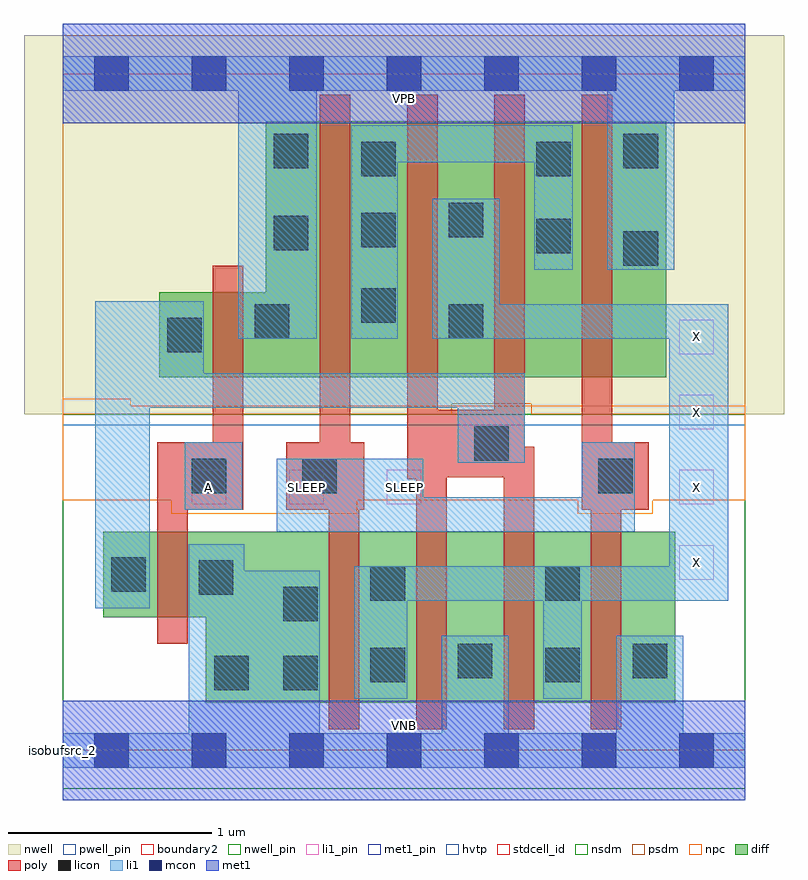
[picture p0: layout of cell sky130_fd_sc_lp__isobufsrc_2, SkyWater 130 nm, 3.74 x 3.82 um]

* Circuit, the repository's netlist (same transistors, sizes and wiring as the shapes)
* Copyright 2020 The SkyWater PDK Authors
*
* Licensed under the Apache License, Version 2.0 (the "License");
* you may not use this file except in compliance with the License.
* You may obtain a copy of the License at
*
*     https://www.apache.org/licenses/LICENSE-2.0
*
* Unless required by applicable law or agreed to in writing, software
* distributed under the License is distributed on an "AS IS" BASIS,
* WITHOUT WARRANTIES OR CONDITIONS OF ANY KIND, either express or implied.
* See the License for the specific language governing permissions and
* limitations under the License.
*
* SPDX-License-Identifier: Apache-2.0

.SUBCKT sky130_fd_sc_lp__isobufsrc_2 A SLEEP VGND VNB VPB VPWR X
*.PININFO A:I SLEEP:I VGND:I VNB:I VPB:I VPWR:I X:O
MMP0 VPWR SLEEP sndPA VPB sky130_fd_pr__pfet_01v8_hvt m=2 w=1.26U l=0.15U mult=1
+ sa=0.265 sb=0.265 sd=0.28 area=0.063 perim=1.14
MMP1 sndPA Ab X VPB sky130_fd_pr__pfet_01v8_hvt m=2 w=1.26U l=0.15U mult=1 sa=0.265
+ sb=0.265 sd=0.28 area=0.063 perim=1.14
MMIP1 Ab A VPWR VPB sky130_fd_pr__pfet_01v8_hvt m=1 w=0.42U l=0.15U mult=1 sa=0.265
+ sb=0.265 sd=0.28 area=0.063 perim=1.14
MMN0 X SLEEP VGND VNB sky130_fd_pr__nfet_01v8 m=2 w=0.84U l=0.15U mult=1 sa=0.265
+ sb=0.265 sd=0.28 area=0.063 perim=1.14
MMN1 X Ab VGND VNB sky130_fd_pr__nfet_01v8 m=2 w=0.84U l=0.15U mult=1 sa=0.265
+ sb=0.265 sd=0.28 area=0.063 perim=1.14
MMIN1 Ab A VGND VNB sky130_fd_pr__nfet_01v8 m=1 w=0.42U l=0.15U mult=1 sa=0.265
+ sb=0.265 sd=0.28 area=0.063 perim=1.14
.ENDS sky130_fd_sc_lp__isobufsrc_2

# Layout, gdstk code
import gdstk
lib = gdstk.Library(unit=1e-6, precision=1e-09)
def R(c, l, rs):  # rectangles x0, y0, x1, y1
    for r in rs: c.add(gdstk.rectangle(r[:2], r[2:], *l))
def A(c, l, x, y, w, h, nx, ny, dx, dy):  # array of equal rectangles
    R(c, l, [(x+i*dx, y+j*dy, x+i*dx+w, y+j*dy+h) for i in range(nx) for j in range(ny)])
def P(c, l, *ps):  # polygons
    for p in ps: c.add(gdstk.Polygon(p, *l))
nwell_pin = (64, 16)
nwell = (64, 20)
diff = (65, 20)
poly = (66, 20)
licon = (66, 44)
li1_pin = (67, 16)
li1 = (67, 20)
mcon = (67, 44)
met1_pin = (68, 16)
met1 = (68, 20)
hvtp = (78, 44)
stdcell_id = (81, 4)
nsdm = (93, 44)
psdm = (94, 20)
npc = (95, 20)
pwell_pin = (122, 16)
boundary2 = (236, 0)

sky130_fd_sc_lp__isobufs = lib.new_cell('sky130_fd_sc_lp__isobufsrc_2')
R(sky130_fd_sc_lp__isobufs, nwell_pin, [(0,3.085,3.36,3.33)])
R(sky130_fd_sc_lp__isobufs, nwell, [(-0.19,1.655,3.55,3.52)])
P(sky130_fd_sc_lp__isobufs, diff, [(2.97,3.095),(1,3.095),(1,2.255),(0.475,2.255),(0.475,1.835),(2.97,1.835)],
  [(3.015,1.075),(0.2,1.075),(0.2,0.655),(0.705,0.655),(0.705,0.235),(3.015,0.235)])
P(sky130_fd_sc_lp__isobufs, poly, [(0.89,2.385),(0.74,2.385),(0.74,1.515),(0.465,1.515),(0.465,0.525),(0.615,0.525),(0.615,1.185),(0.89,1.185)],
  [(1.485,1.515),(1.415,1.515),(1.415,3.225),(1.265,3.225),(1.265,1.515),(1.1,1.515),(1.1,1.185),(1.31,1.185),(1.31,0.105),(1.46,0.105),(1.46,1.185),(1.485,1.185)],
  [(2.32,1.495),(2.275,1.495),(2.275,3.225),(2.125,3.225),(2.125,1.675),(1.845,1.675),(1.845,3.225),(1.695,3.225),(1.695,1.335),(1.74,1.335),(1.74,0.105),(1.89,0.105),(1.89,1.345),(2.17,1.345),(2.17,0.105),(2.32,0.105)],
  [(2.885,1.515),(2.705,1.515),(2.705,3.225),(2.555,3.225),(2.555,1.185),(2.6,1.185),(2.6,0.105),(2.75,0.105),(2.75,1.185),(2.885,1.185)])
R(sky130_fd_sc_lp__isobufs, licon, [(0.745,0.295,0.915,0.465), (1.085,0.295,1.255,0.465), (1.515,0.335,1.685,0.505), (2.375,0.335,2.545,0.505), (1.945,0.355,2.115,0.525), (2.805,0.355,2.975,0.525), (1.085,0.635,1.255,0.805), (1.515,0.735,1.685,0.905), (2.375,0.735,2.545,0.905), (0.67,0.765,0.84,0.935), (0.24,0.78,0.41,0.95), (0.635,1.265,0.805,1.435), (1.18,1.265,1.35,1.435), (2.635,1.265,2.805,1.435), (2.025,1.425,2.195,1.595), (0.515,1.96,0.685,2.13), (0.945,2.025,1.115,2.195), (1.9,2.025,2.07,2.195), (1.47,2.105,1.64,2.275), (2.76,2.385,2.93,2.555), (2.33,2.445,2.5,2.615), (1.04,2.46,1.21,2.63), (1.47,2.475,1.64,2.645), (1.9,2.525,2.07,2.695), (1.47,2.825,1.64,2.995), (2.33,2.825,2.5,2.995), (1.04,2.865,1.21,3.035), (2.76,2.865,2.93,3.035)])
A(sky130_fd_sc_lp__isobufs, li1_pin, 3.035, 0.84, 0.17, 0.17, 1, 4, 0, 0.37)
A(sky130_fd_sc_lp__isobufs, li1_pin, 0.635, 1.21, 0.17, 0.17, 3, 1, 0.48, 0)
R(sky130_fd_sc_lp__isobufs, li1, [(0.6,1.185,0.885,1.515)])
P(sky130_fd_sc_lp__isobufs, li1, [(2.68,2.365),(2.68,3.245),(1.25,3.245),(1.25,2.025),(0.865,2.025),(0.865,3.245),(0,3.245),(0,3.415),(3.36,3.415),(3.36,3.245),(3.01,3.245),(3.01,2.365)],
  [(1.435,0.255),(1.435,0.905),(2.985,0.905),(2.985,2.025),(1.82,2.025),(1.82,2.715),(2.15,2.715),(2.15,2.195),(3.275,2.195),(3.275,0.735),(2.555,0.735),(2.555,0.255),(2.365,0.255),(2.365,0.735),(1.695,0.735),(1.695,0.255)],
  [(2.32,2.895),(1.65,2.895),(1.65,2.025),(1.42,2.025),(1.42,3.075),(2.51,3.075),(2.51,2.365),(2.32,2.365)],
  [(0.16,2.21),(0.695,2.21),(0.695,1.855),(2.275,1.855),(2.275,1.415),(1.945,1.415),(1.945,1.685),(0.43,1.685),(0.43,0.7),(0.16,0.7)],
  [(1.055,1.075),(1.055,1.435),(1.775,1.435),(1.775,1.245),(2.555,1.245),(2.555,1.515),(2.815,1.515),(2.815,1.075)],
  [(3.36,0.085),(3.055,0.085),(3.055,0.565),(2.725,0.565),(2.725,0.085),(2.195,0.085),(2.195,0.565),(1.865,0.565),(1.865,0.085),(1.265,0.085),(1.265,0.885),(0.895,0.885),(0.895,1.015),(0.62,1.015),(0.62,0.085),(0,0.085),(0,-0.085),(3.36,-0.085)])
A(sky130_fd_sc_lp__isobufs, mcon, 0.155, -0.085, 0.17, 0.17, 7, 2, 0.48, 3.33)
R(sky130_fd_sc_lp__isobufs, met1_pin, [(0,0,3.36,0.245), (0,3.085,3.36,3.33)])
R(sky130_fd_sc_lp__isobufs, met1, [(0,-0.245,3.36,0.245), (0,3.085,3.36,3.575)])
R(sky130_fd_sc_lp__isobufs, hvtp, [(0,1.6,3.36,3.33)])
R(sky130_fd_sc_lp__isobufs, stdcell_id, [(0,0,3.36,3.33)])
R(sky130_fd_sc_lp__isobufs, nsdm, [(0,-0.19,3.36,1.655)])
P(sky130_fd_sc_lp__isobufs, psdm, [(3.36,3.52),(0,3.52),(0,1.655),(1.915,1.655),(1.915,1.705),(2.305,1.705),(2.305,1.655),(3.36,1.655)])
P(sky130_fd_sc_lp__isobufs, npc, [(3.36,1.695),(0.335,1.695),(0.335,1.73),(0,1.73),(0,1.23),(0.535,1.23),(0.535,1.165),(1.45,1.165),(1.45,1.23),(2.535,1.23),(2.535,1.165),(2.905,1.165),(2.905,1.23),(3.36,1.23)])
R(sky130_fd_sc_lp__isobufs, pwell_pin, [(0,0,3.36,0.245)])
R(sky130_fd_sc_lp__isobufs, boundary2, [(0,0,3.36,3.33)])
sky130_fd_sc_lp__isobufs.add(gdstk.Label('VNB', (1.68,0.123), layer=64, texttype=59))
sky130_fd_sc_lp__isobufs.add(gdstk.Label('VPB', (1.68,3.208), layer=64, texttype=5))
sky130_fd_sc_lp__isobufs.add(gdstk.Label('isobufsrc_2', (0,0), layer=83, texttype=44))
sky130_fd_sc_lp__isobufs.add(gdstk.Label('VPWR', (1.68,3.208), layer=68, texttype=5))
sky130_fd_sc_lp__isobufs.add(gdstk.Label('VGND', (1.68,0.123), layer=68, texttype=5))
sky130_fd_sc_lp__isobufs.add(gdstk.Label('X', (3.12,0.925), layer=67, texttype=5))
sky130_fd_sc_lp__isobufs.add(gdstk.Label('X', (3.12,1.295), layer=67, texttype=5))
sky130_fd_sc_lp__isobufs.add(gdstk.Label('A', (0.72,1.295), layer=67, texttype=5))
sky130_fd_sc_lp__isobufs.add(gdstk.Label('SLEEP', (1.2,1.295), layer=67, texttype=5))
sky130_fd_sc_lp__isobufs.add(gdstk.Label('SLEEP', (1.68,1.295), layer=67, texttype=5))
sky130_fd_sc_lp__isobufs.add(gdstk.Label('X', (3.12,2.035), layer=67, texttype=5))
sky130_fd_sc_lp__isobufs.add(gdstk.Label('X', (3.12,1.665), layer=67, texttype=5))

lib.write_gds('sky130_fd_sc_lp__isobufsrc_2.gds')
